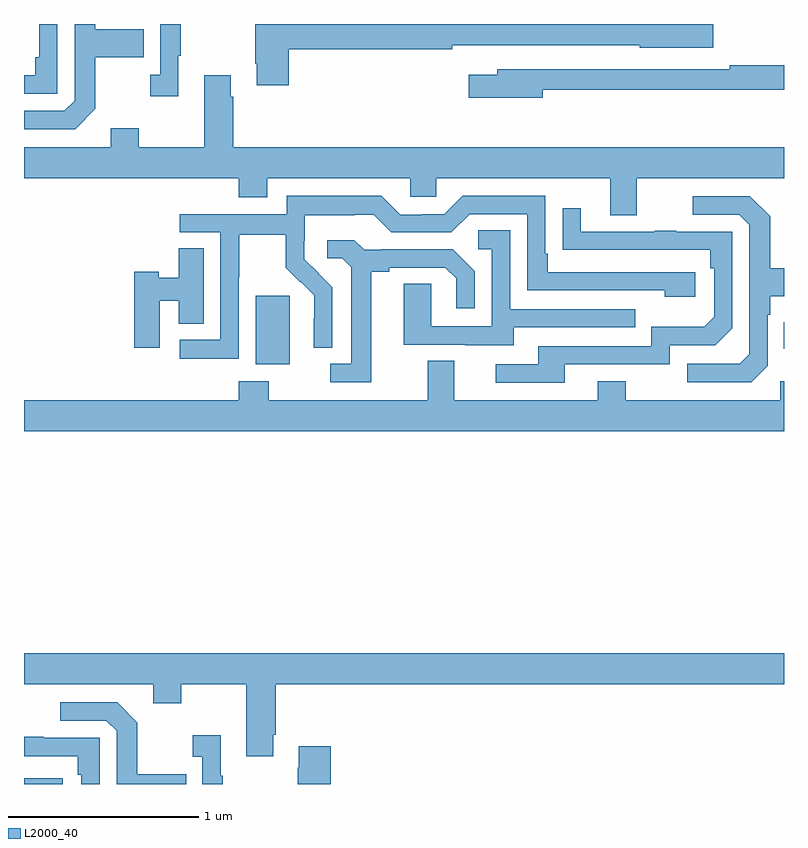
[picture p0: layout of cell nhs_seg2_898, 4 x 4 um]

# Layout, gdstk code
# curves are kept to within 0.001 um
import gdstk
lib = gdstk.Library(unit=1e-6, precision=1e-09)
def R(c, l, rs):  # rectangles x0, y0, x1, y1
    for r in rs: c.add(gdstk.rectangle(r[:2], r[2:], *l))
def P(c, l, *ps):  # polygons
    for p in ps: c.add(gdstk.Polygon(p, *l))
L2000_40 = (2000, 40)

nhs_seg2_898 = lib.new_cell('nhs_seg2_898')
R(nhs_seg2_898, L2000_40, [(157,625.8,157.204,625.83), (158.219,628.01,158.398,628.371), (160.999,628.091,161,628.231)])
P(nhs_seg2_898, L2000_40, [(157.813,629.633),(157.825,629.633),(157.825,629.8),(157.716,629.8),(157.716,629.534),(157.665,629.534),(157.665,629.421),(157.813,629.421)],
  [(157.176,629.8),(157.08,629.8),(157.08,629.626),(157.06,629.626),(157.06,629.529),(157,629.529),(157,629.433),(157.176,629.433)],
  [(157.375,629.353),(157.375,629.626),(157.631,629.626),(157.631,629.773),(157.375,629.773),(157.375,629.8),(157.266,629.8),(157.266,629.397),(157.212,629.343),(157,629.343),(157,629.247),(157.269,629.247)],
  [(158.393,629.668),(159.254,629.668),(159.254,629.688),(160.242,629.688),(160.242,629.675),(160.627,629.675),(160.627,629.8),(158.218,629.8),(158.218,629.59),(158.225,629.59),(158.225,629.478),(158.393,629.478)],
  [(159.73,629.454),(161,629.454),(161,629.582),(160.714,629.582),(160.714,629.562),(159.491,629.562),(159.491,629.533),(159.342,629.533),(159.342,629.411),(159.73,629.411)],
  [(160.225,628.988),(161,628.988),(161,629.152),(158.102,629.152),(158.102,629.417),(158.089,629.417),(158.089,629.53),(157.949,629.53),(157.949,629.152),(157.605,629.152),(157.605,629.251),(157.457,629.251),(157.457,629.152),(157,629.152),(157,628.988),(158.129,628.988),(158.129,628.889),(158.281,628.889),(158.281,628.988),(159.033,628.988),(159.033,628.89),(159.171,628.89),(159.171,628.988),(160.085,628.988),(160.085,628.794),(160.225,628.794)],
  [(158.13,628.468),(158.133,628.468),(158.133,628.692),(158.377,628.692),(158.377,628.517),(158.454,628.44),(158.457,628.443),(158.528,628.373),(158.528,628.25),(158.526,628.25),(158.526,628.096),(158.622,628.096),(158.622,628.414),(158.476,628.562),(158.476,628.659),(158.478,628.659),(158.478,628.793),(158.741,628.793),(158.741,628.797),(158.841,628.797),(158.934,628.704),(159.249,628.704),(159.345,628.8),(159.648,628.8),(159.648,628.398),(160.373,628.398),(160.373,628.364),(160.534,628.364),(160.534,628.494),(159.757,628.494),(159.757,628.591),(159.744,628.591),(159.744,628.896),(159.309,628.896),(159.213,628.8),(159.095,628.8),(159.095,628.797),(158.979,628.797),(158.879,628.897),(158.382,628.897),(158.382,628.8),(157.821,628.8),(157.821,628.704),(158.034,628.704),(158.034,628.137),(157.821,628.137),(157.821,628.039),(158.13,628.039)],
  [(160.914,628.002),(160.914,628.271),(160.927,628.271),(160.927,628.367),(161,628.367),(161,628.515),(160.927,628.515),(160.927,628.787),(160.821,628.893),(160.521,628.893),(160.521,628.797),(160.764,628.797),(160.818,628.743),(160.818,628.062),(160.767,628.011),(160.491,628.011),(160.491,627.915),(160.827,627.915)],
  [(159.847,628.008),(160.398,628.008),(160.398,628.11),(160.638,628.11),(160.728,628.2),(160.728,628.707),(160.433,628.707),(160.433,628.712),(160.321,628.712),(160.321,628.707),(159.931,628.707),(159.931,628.831),(159.835,628.831),(159.835,628.612),(160.612,628.611),(160.612,628.514),(160.632,628.514),(160.632,628.26),(160.579,628.207),(160.302,628.207),(160.302,628.104),(159.707,628.104),(159.707,628.008),(159.483,628.008),(159.483,627.912),(159.847,627.912)],
  [(159.577,628.203),(160.217,628.203),(160.217,628.299),(159.558,628.299),(159.558,628.715),(159.39,628.715),(159.39,628.614),(159.462,628.614),(159.462,628.209),(159.144,628.209),(159.144,628.433),(158.999,628.433),(158.999,628.113),(159.323,628.113),(159.323,628.109),(159.577,628.109)],
  [(158.827,628.496),(158.923,628.496),(158.923,628.518),(159.218,628.518),(159.275,628.461),(159.275,628.305),(159.372,628.305),(159.372,628.498),(159.256,628.614),(158.884,628.614),(158.884,628.611),(158.79,628.611),(158.738,628.663),(158.595,628.663),(158.595,628.566),(158.676,628.566),(158.723,628.519),(158.723,628.011),(158.613,628.011),(158.613,627.915),(158.827,627.915)],
  [(157.714,628.343),(157.814,628.343),(157.814,628.222),(157.945,628.222),(157.945,628.619),(157.814,628.619),(157.814,628.465),(157.71,628.465),(157.71,628.496),(157.58,628.496),(157.58,628.095),(157.714,628.095)],
  [(161,627.919),(160.98,627.919),(160.98,627.82),(160.167,627.82),(160.167,627.919),(160.019,627.919),(160.019,627.82),(159.265,627.82),(159.265,628.028),(159.125,628.028),(159.125,627.82),(158.289,627.82),(158.289,627.919),(158.129,627.919),(158.129,627.82),(157,627.82),(157,627.656),(161,627.656)],
  [(158.311,626.059),(158.324,626.059),(158.324,626.324),(161,626.324),(161,626.488),(157,626.488),(157,626.324),(157.679,626.324),(157.679,626.225),(157.827,626.225),(157.827,626.324),(158.171,626.324),(158.171,625.947),(158.311,625.947)],
  [(157.853,625.851),(157.597,625.851),(157.597,626.123),(157.491,626.229),(157.191,626.229),(157.191,626.133),(157.434,626.133),(157.488,626.079),(157.488,625.8),(157.853,625.8)],
  [(158.047,625.843),(158.035,625.843),(158.035,626.056),(157.887,626.056),(157.887,625.943),(157.938,625.943),(157.938,625.8),(158.047,625.8)],
  [(157.398,626.043),(157.103,626.043),(157.103,626.048),(157,626.048),(157,625.947),(157.282,625.947),(157.282,625.85),(157.302,625.85),(157.302,625.8),(157.398,625.8)],
  [(158.615,625.999),(158.447,625.999),(158.447,625.886),(158.44,625.886),(158.44,625.8),(158.615,625.8)])

lib.write_gds('nhs_seg2_898.gds')
